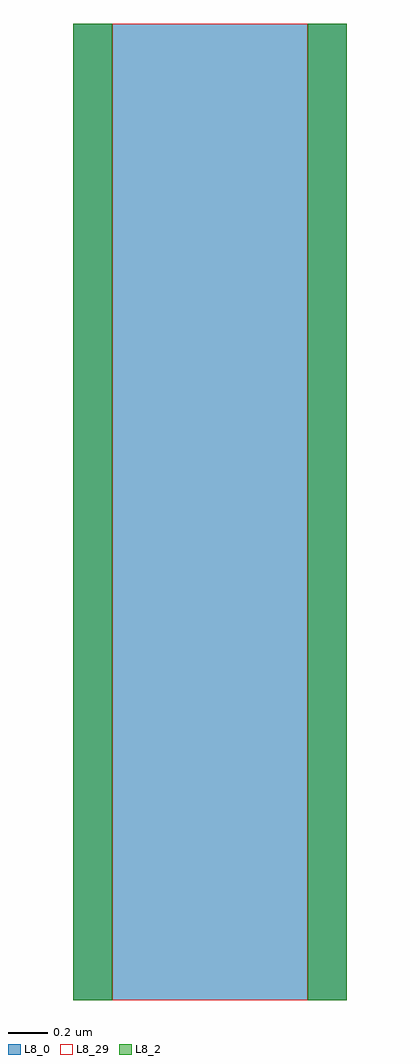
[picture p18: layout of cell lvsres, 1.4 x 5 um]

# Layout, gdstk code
import gdstk
lib = gdstk.Library(unit=1e-6, precision=1e-09)
def R(c, l, rs):  # rectangles x0, y0, x1, y1
    for r in rs: c.add(gdstk.rectangle(r[:2], r[2:], *l))
L8_0 = (8, 0)
L8_2 = (8, 2)
L8_29 = (8, 29)

lvsres = lib.new_cell('lvsres')
R(lvsres, L8_0, [(-0.7,0,0.7,5), (-0.7,0,0.7,5), (-0.5,0,0.5,5), (-0.5,0,0.5,5)])
R(lvsres, L8_2, [(-0.7,0,-0.5,5), (-0.7,0,-0.5,5), (0.5,0,0.7,5), (0.5,0,0.7,5)])
R(lvsres, L8_29, [(-0.5,0,0.5,5), (-0.5,0,0.5,5)])

lib.write_gds('lvsres.gds')
